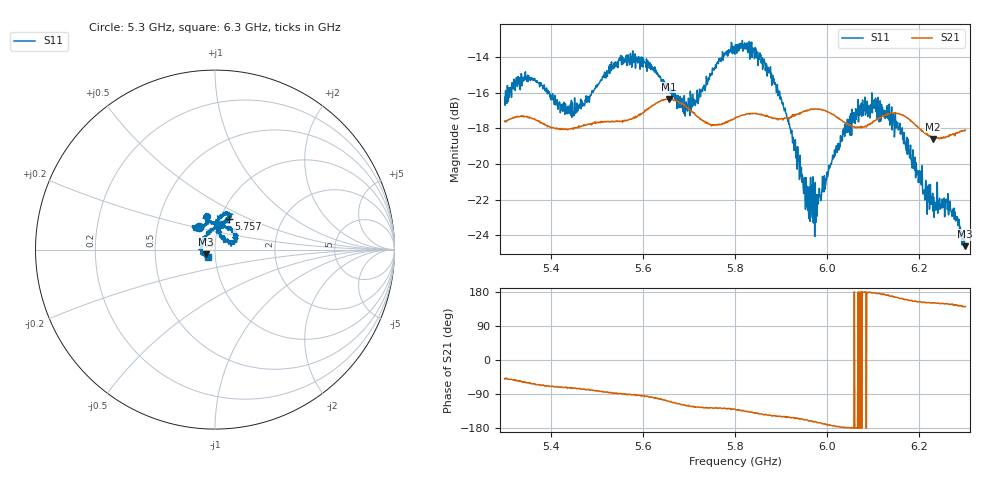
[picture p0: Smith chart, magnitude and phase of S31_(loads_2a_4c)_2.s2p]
! NanoVNA-App
! Date: 2026-11-04 23:52:52
! Start: 5,3GHz Stop: 6,3GHz Points: 1001
! S-Parameter data: F S11 S21 S12 S22
# Hz S RI R 50
!  Frequency  S11_Real  S11_Imag  S21_Real  S21_Imag  S12_Real  S12_Imag  S22_Real  S22_Imag
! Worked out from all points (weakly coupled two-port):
!   1001 points, 5.3 GHz to 6.3 GHz, reference 50 ohm
!   highest |S21| = -16.34 dB at 5.657 GHz (marker M1); lowest = -18.6 dB at 6.229 GHz (marker M2)
!   lowest |S11| = -24.6 dB at 6.299 GHz (marker M3), VSWR 1.12, Z = 45 - j2.4 ohm
!   |S11| at or under -10 dB: start of sweep to end of sweep
!   S12 and S22 are empty: the file has one direction only
!   S11 on the Smith chart (normalised r, x): 5.3 GHz: 0.81, +0.20; 5.757 GHz: 1.09, +0.39; 6.3 GHz: 0.92, -0.08
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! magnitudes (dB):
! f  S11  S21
! 5.3 GHz  -16.3  -17.6
! 5.349 GHz  -15.2  -17.4
! 5.426 GHz  -17.0  -18.0
! 5.467 GHz  -16.4  -17.9
! 5.553 GHz  -14.2  -17.6
! 5.634 GHz  -15.0  -16.5
! 5.657 GHz  -15.8  -16.3
! 5.692 GHz  -17.3  -16.7
! 5.757 GHz  -14.6  -17.8
! 5.8 GHz  -13.8  -17.4
! 5.872 GHz  -14.6  -17.3
! 5.913 GHz  -17.4  -17.4
! 5.958 GHz  -22.6  -17.0
! 5.967 GHz  -22.5  -16.9
! 5.978 GHz  -22.9  -16.9
! 6.059 GHz  -17.1  -17.9
! 6.102 GHz  -16.4  -17.6
! 6.134 GHz  -17.5  -17.2
! 6.229 GHz  -21.7  -18.6
! 6.262 GHz  -21.7  -18.5
! 6.299 GHz  -24.6  -18.1
! 6.3 GHz  -24.6  -18.1
